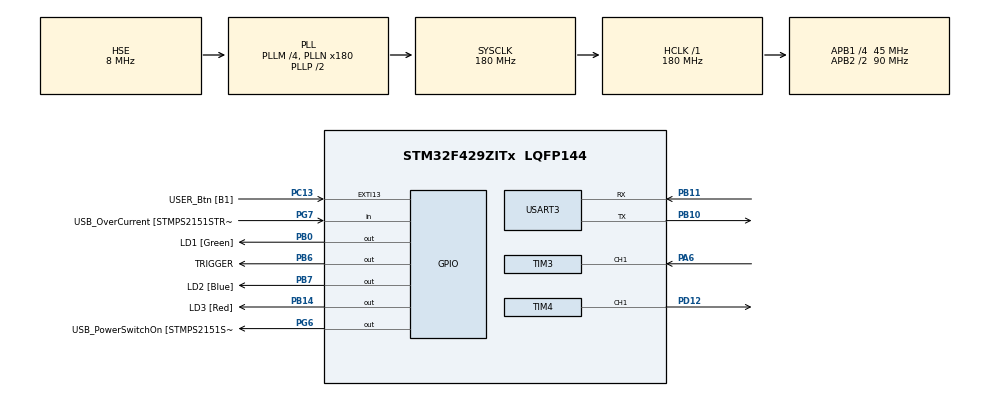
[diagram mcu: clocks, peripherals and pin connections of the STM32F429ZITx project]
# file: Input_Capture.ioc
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Dma.Request0=TIM3_CH1/TRIG
Dma.TIM3_CH1/TRIG.0.Direction=DMA_PERIPH_TO_MEMORY
Dma.TIM3_CH1/TRIG.0.FIFOMode=DMA_FIFOMODE_DISABLE
Dma.TIM3_CH1/TRIG.0.Instance=DMA1_Stream4
Dma.TIM3_CH1/TRIG.0.MemDataAlignment=DMA_MDATAALIGN_HALFWORD
Dma.TIM3_CH1/TRIG.0.MemInc=DMA_MINC_ENABLE
Dma.TIM3_CH1/TRIG.0.Mode=DMA_CIRCULAR
Dma.TIM3_CH1/TRIG.0.PeriphDataAlignment=DMA_PDATAALIGN_HALFWORD
Dma.TIM3_CH1/TRIG.0.PeriphInc=DMA_PINC_DISABLE
Dma.TIM3_CH1/TRIG.0.Priority=DMA_PRIORITY_LOW
Mcu.Family=STM32F4
Mcu.Name=STM32F429ZITx
Mcu.Package=LQFP144
NVIC.DMA1_Stream4_IRQn=true\:0\:0\:false\:false\:true\:false\:true\:true
NVIC.PriorityGroup=NVIC_PRIORITYGROUP_4
NVIC.TIM3_IRQn=true\:0\:0\:false\:false\:true\:true\:true\:true
NVIC.TIM4_IRQn=true\:0\:0\:false\:false\:true\:true\:true\:true
NVIC.USART3_IRQn=true\:0\:0\:false\:false\:true\:true\:true\:true
PA1.GPIO_Label=RMII_REF_CLK [LAN8742A-CZ-TR_REFCLK0]
PA1.Signal=ETH_REF_CLK
PA10.GPIO_Label=USB_ID
PA10.Signal=USB_OTG_FS_ID
PA11.GPIO_Label=USB_DM
PA11.Signal=USB_OTG_FS_DM
PA12.GPIO_Label=USB_DP
PA12.Signal=USB_OTG_FS_DP
PA13.GPIO_Label=TMS
PA13.Mode=Serial_Wire
PA13.Signal=SYS_JTMS-SWDIO
PA14.GPIO_Label=TCK
PA14.Mode=Serial_Wire
PA14.Signal=SYS_JTCK-SWCLK
PA2.GPIO_Label=RMII_MDIO [LAN8742A-CZ-TR_MDIO]
PA2.Signal=ETH_MDIO
PA6.Signal=S_TIM3_CH1
PA7.GPIO_Label=RMII_CRS_DV [LAN8742A-CZ-TR_CRS_DV]
PA7.Signal=ETH_CRS_DV
PA8.GPIO_Label=USB_SOF [TP1]
PA8.Signal=USB_OTG_FS_SOF
PA9.GPIO_Label=USB_VBUS
PA9.Signal=USB_OTG_FS_VBUS
PB0.GPIO_Label=LD1 [Green]
PB0.Signal=GPIO_Output
PB10.Mode=Asynchronous
PB10.Signal=USART3_TX
PB11.Mode=Asynchronous
PB11.Signal=USART3_RX
PB13.GPIO_Label=RMII_TXD1 [LAN8742A-CZ-TR_TXD1]
PB13.Signal=ETH_TXD1
PB14.GPIO_Label=LD3 [Red]
PB14.Signal=GPIO_Output
PB6.GPIO_Label=TRIGGER
PB6.Signal=GPIO_Output
PB7.GPIO_Label=LD2 [Blue]
PB7.Signal=GPIO_Output
PC1.GPIO_Label=RMII_MDC [LAN8742A-CZ-TR_MDC]
PC1.Signal=ETH_MDC
PC13.GPIO_Label=USER_Btn [B1]
PC13.Signal=GPXTI13
PC14/OSC32_IN.Mode=LSE-External-Oscillator
PC14/OSC32_IN.Signal=RCC_OSC32_IN
PC15/OSC32_OUT.Mode=LSE-External-Oscillator
PC15/OSC32_OUT.Signal=RCC_OSC32_OUT
PC4.GPIO_Label=RMII_RXD0 [LAN8742A-CZ-TR_RXD0]
PC4.Signal=ETH_RXD0
PC5.GPIO_Label=RMII_RXD1 [LAN8742A-CZ-TR_RXD1]
PC5.Signal=ETH_RXD1
PD12.Signal=S_TIM4_CH1
PG11.GPIO_Label=RMII_TX_EN [LAN8742A-CZ-TR_TXEN]
PG11.Signal=ETH_TX_EN
PG13.GPIO_Label=RMII_TXD0 [LAN8742A-CZ-TR_TXD0]
PG13.Signal=ETH_TXD0
PG6.GPIO_Label=USB_PowerSwitchOn [STMPS2151STR_EN]
PG6.Signal=GPIO_Output
PG7.GPIO_Label=USB_OverCurrent [STMPS2151STR_FAULT]
PG7.Signal=GPIO_Input
PH0/OSC_IN.GPIO_Label=MCO [STM32F103CBT6_PA8]
PH0/OSC_IN.Mode=HSE-External-Clock-Source
PH0/OSC_IN.Signal=RCC_OSC_IN
PH1/OSC_OUT.Mode=HSE-External-Clock-Source
PH1/OSC_OUT.Signal=RCC_OSC_OUT
ProjectManager.HeapSize=0x200
ProjectManager.StackSize=0x400
ProjectManager.TargetToolchain=STM32CubeIDE
RCC.48MHZClocksFreq_Value=90000000
RCC.AHBFreq_Value=180000000
RCC.APB1CLKDivider=RCC_HCLK_DIV4
RCC.APB1Freq_Value=45000000
RCC.APB1TimFreq_Value=90000000
RCC.APB2CLKDivider=RCC_HCLK_DIV2
RCC.APB2Freq_Value=90000000
RCC.APB2TimFreq_Value=180000000
RCC.CortexFreq_Value=180000000
RCC.HCLKFreq_Value=180000000
RCC.HSE_VALUE=8000000
RCC.HSI_VALUE=16000000
RCC.PLLM=4
RCC.PLLMUL=RCC_PLL_MUL9
RCC.PLLN=180
RCC.PLLSourceVirtual=RCC_PLLSOURCE_HSE
RCC.PRESCALERUSB=RCC_USBCLKSOURCE_PLL_DIV1_5
RCC.SYSCLKFreq_VALUE=180000000
RCC.SYSCLKSource=RCC_SYSCLKSOURCE_PLLCLK
RCC.SYSCLKSourceVirtual=RCC_SYSCLKSOURCE_PLLCLK
RCC.USBFreq_Value=48000000
RCC.VCOOutputFreq_Value=360000000
SH.S_TIM3_CH1.0=TIM3_CH1,Input_Capture1_from_TI1
SH.S_TIM4_CH1.0=TIM4_CH1,Output Compare1 CH1
TIM3.AutoReloadPreload=TIM_AUTORELOAD_PRELOAD_ENABLE
TIM3.Channel-Input_Capture1_from_TI1=TIM_CHANNEL_1
TIM3.ICFilter_CH1=0
TIM3.Prescaler=90-1
TIM4.AutoReloadPreload=TIM_AUTORELOAD_PRELOAD_ENABLE
TIM4.Channel-Output\ Compare1\ CH1=TIM_CHANNEL_1
TIM4.Period=60000-1
TIM4.Prescaler=150-1
TIM4.Pulse-Output\ Compare1\ CH1=7
USART3.VirtualMode=VM_ASYNC
VP_TIM3_VS_ClockSourceINT.Mode=Internal
VP_TIM4_VS_ClockSourceINT.Mode=Internal
board=NUCLEO-F429ZI

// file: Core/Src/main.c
/* USER CODE BEGIN Header */
/**
  ******************************************************************************
  * @file           : main.c
  * @brief          : Main program body
  ******************************************************************************
  * @attention
  *
  * Copyright (c) 2022 STMicroelectronics.
  * All rights reserved.
  *
  * This software is licensed under terms that can be found in the LICENSE file
  * in the root directory of this software component.
  * If no LICENSE file comes with this software, it is provided AS-IS.
  *
  ******************************************************************************
  */
/* USER CODE END Header */
#include "main.h"
#include "dma.h"
#include "tim.h"
#include "usart.h"
#include "gpio.h"

/* USER CODE BEGIN Includes */
#include "stdio.h"
#include "stdbool.h"
/* USER CODE END Includes */

/* USER CODE BEGIN PV */
volatile uint16_t capture1[2];
volatile uint16_t risingCP;
volatile uint16_t fallingCP;
uint8_t capture1CNT = 0;
uint32_t period, active, freq, duty;
uint16_t width, DMAwidth = 0;
uint16_t distance, DMAdistance = 0;
bool ch1done = false;
bool ch2done = false;

/* USER CODE END PV */

void SystemClock_Config(void);
/* USER CODE BEGIN PFP */
int _write(int file, char* p, int len)
{
	if(HAL_UART_Transmit(&huart3, (uint8_t *)p, len, 10) == HAL_OK) return len;
	else return 0;
}
void DWT_Delay_us(volatile uint32_t microseconds);
void TriggerEnable(void);
uint32_t DWT_Delay_Init(void);
/* USER CODE END PFP */

int main(void)
{

  /* MCU Configuration--------------------------------------------------------*/

  /* Reset of all peripherals, Initializes the Flash interface and the Systick. */
  HAL_Init();

  /* Configure the system clock */
  SystemClock_Config();

  /* Initialize all configured peripherals */
  MX_GPIO_Init();
  MX_DMA_Init();
  MX_TIM3_Init();
  MX_TIM4_Init();
  MX_USART3_UART_Init();
  /* USER CODE BEGIN 2 */
  DWT_Delay_Init();
  HAL_TIM_Base_Start_IT(&htim3);
  HAL_TIM_Base_Start_IT(&htim4);	// Sonar
  //HAL_TIM_IC_Start_IT(&htim3, TIM_CHANNEL_1);

  HAL_TIM_OC_Start_IT(&htim4, TIM_CHANNEL_1);		// Sonar

  //htim3.State = HAL_TIM_STATE_READY;
  HAL_TIM_IC_Start_DMA(&htim3, TIM_CHANNEL_1, (uint32_t *)capture1, 2);
  /* USER CODE END 2 */

  /* Infinite loop */
  /* USER CODE BEGIN WHILE */
  printf("start this program \r\n");
  HAL_Delay(1000);
  while (1)
  {
	 HAL_Delay(100);
	 printf("%lx %x %5d-%5d DMAWidth : %5d => DMAdistance : %4d cm\r\n",TIM3->CCER & TIM_CCER_CC1P, 0x01 << 1 ,capture1[0], capture1[1], DMAwidth, DMAdistance);

    /* USER CODE END WHILE */

  }
}

void SystemClock_Config(void)
{
  RCC_OscInitTypeDef RCC_OscInitStruct = {0};
  RCC_ClkInitTypeDef RCC_ClkInitStruct = {0};

  /** Configure the main internal regulator output voltage
  */
  __HAL_RCC_PWR_CLK_ENABLE();
  __HAL_PWR_VOLTAGESCALING_CONFIG(PWR_REGULATOR_VOLTAGE_SCALE1);

  /** Initializes the RCC Oscillators according to the specified parameters
  * in the RCC_OscInitTypeDef structure.
  */
  RCC_OscInitStruct.OscillatorType = RCC_OSCILLATORTYPE_HSE;
  RCC_OscInitStruct.HSEState = RCC_HSE_BYPASS;
  RCC_OscInitStruct.PLL.PLLState = RCC_PLL_ON;
  RCC_OscInitStruct.PLL.PLLSource = RCC_PLLSOURCE_HSE;
  RCC_OscInitStruct.PLL.PLLM = 4;
  RCC_OscInitStruct.PLL.PLLN = 180;
  RCC_OscInitStruct.PLL.PLLP = RCC_PLLP_DIV2;
  RCC_OscInitStruct.PLL.PLLQ = 4;
  if (HAL_RCC_OscConfig(&RCC_OscInitStruct) != HAL_OK)
  {
    Error_Handler();
  }

  /** Activate the Over-Drive mode
  */
  if (HAL_PWREx_EnableOverDrive() != HAL_OK)
  {
    Error_Handler();
  }

  /** Initializes the CPU, AHB and APB buses clocks
  */
  RCC_ClkInitStruct.ClockType = RCC_CLOCKTYPE_HCLK|RCC_CLOCKTYPE_SYSCLK
                              |RCC_CLOCKTYPE_PCLK1|RCC_CLOCKTYPE_PCLK2;
  RCC_ClkInitStruct.SYSCLKSource = RCC_SYSCLKSOURCE_PLLCLK;
  RCC_ClkInitStruct.AHBCLKDivider = RCC_SYSCLK_DIV1;
  RCC_ClkInitStruct.APB1CLKDivider = RCC_HCLK_DIV4;
  RCC_ClkInitStruct.APB2CLKDivider = RCC_HCLK_DIV2;

  if (HAL_RCC_ClockConfig(&RCC_ClkInitStruct, FLASH_LATENCY_5) != HAL_OK)
  {
    Error_Handler();
  }
}

/* USER CODE BEGIN 4 */
/* DMA */

void HAL_TIM_PeriodElapsedCallback(TIM_HandleTypeDef *htim)
{
	if(htim->Instance == TIM4)
	{
		GPIOB->ODR |= 0x01 << 6;  // PB 6 SET
		GPIOB->ODR |= LD1_Pin;
		//TriggerEnable();
	}

}

void HAL_TIM_OC_DelayElapsedCallback(TIM_HandleTypeDef *htim)
{
	if(htim->Instance == TIM4)	// Pulse 7
	{
		GPIOB->ODR &= ~(0x01 << 6);	// PB 6	RESET, Pulse
		GPIOB->ODR &= ~LD1_Pin;
	}
}

void HAL_TIM_IC_CaptureCallback(TIM_HandleTypeDef *htim)
{

	if(htim->Instance == TIM3 && htim->Channel == HAL_TIM_ACTIVE_CHANNEL_1)
	{

		/*   */
		if((TIM3->CCER & TIM_CCER_CC1P) != (0x01 << 1))
		{
			fallingCP = capture1[1];
			TIM3->CCER |= TIM_CCER_CC1P;		// Rising -> Falling (0 -> 1)
			GPIOB->ODR |= LD2_Pin;
			GPIOB->ODR &= ~LD3_Pin;
			ch1done = true;

		}
		else
		{
			risingCP = capture1[0];
			TIM3->CCER &= ~TIM_CCER_CC1P;		// Falling -> Rising	(1 -> 0)
			GPIOB->ODR |= LD3_Pin;
			GPIOB->ODR &= ~LD2_Pin;
			ch1done = false;

		}

		if(!ch1done)
		{
			if(risingCP > fallingCP){
				DMAwidth = risingCP - fallingCP;
			}
			else
			{
				DMAwidth = TIM3->ARR - fallingCP + risingCP;
			}

			 DMAdistance = DMAwidth/58;
			 if(DMAdistance > 400) DMAdistance = 400;
		}

	}
}

uint32_t DWT_Delay_Init(void)
{
  /* Disable TRC */
  CoreDebug->DEMCR &= ~CoreDebug_DEMCR_TRCENA_Msk; // ~0x01000000;
  /* Enable TRC */
  CoreDebug->DEMCR |=  CoreDebug_DEMCR_TRCENA_Msk; // 0x01000000;

  /* Disable clock cycle counter */
  DWT->CTRL &= ~DWT_CTRL_CYCCNTENA_Msk; //~0x00000001;
  /* Enable  clock cycle counter */
  DWT->CTRL |=  DWT_CTRL_CYCCNTENA_Msk; //0x00000001;

  /* Reset the clock cycle counter value */
  DWT->CYCCNT = 0;

     /* 3 NO OPERATION instructions */
     __ASM volatile ("NOP");
     __ASM volatile ("NOP");
  __ASM volatile ("NOP");

  /* Check if clock cycle counter has started */
     if(DWT->CYCCNT)
     {
       return 0; /*clock cycle counter started*/
     }
     else
  {
    return 1; /*clock cycle counter not started*/
  }
}

void DWT_Delay_us(volatile uint32_t microseconds)
{
  uint32_t clk_cycle_start = DWT->CYCCNT;

  /* Go to number of cycles for system */
  microseconds *= (HAL_RCC_GetHCLKFreq() / 1000000);

  /* Delay till end */
  while ((DWT->CYCCNT - clk_cycle_start) < microseconds);
}

void TriggerEnable(void)
{
	GPIOB->ODR &= ~TRIGGER_Pin;	// initialize
	DWT_Delay_us(2);
	GPIOB->ODR |= TRIGGER_Pin;	// Trigger signal
	DWT_Delay_us(11);
	GPIOB->ODR &= ~TRIGGER_Pin;	// shut down
}

/* USER CODE END 4 */

void Error_Handler(void)
{
  __disable_irq();
  while (1)
  {
  }
}
